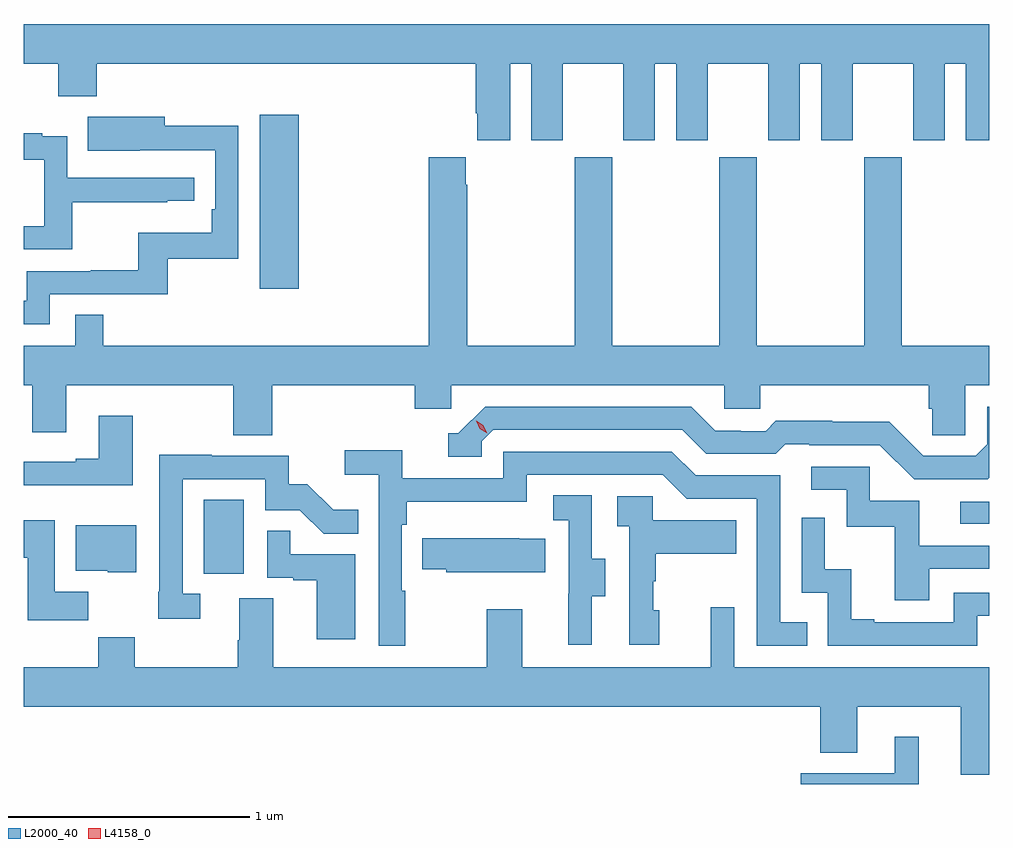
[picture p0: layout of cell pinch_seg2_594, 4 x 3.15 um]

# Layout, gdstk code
import gdstk
lib = gdstk.Library(unit=1e-6, precision=1e-09)
def R(c, l, rs):  # rectangles x0, y0, x1, y1
    for r in rs: c.add(gdstk.rectangle(r[:2], r[2:], *l))
def P(c, l, *ps):  # polygons
    for p in ps: c.add(gdstk.Polygon(p, *l))
L2000_40 = (2000, 40)
L4158_0 = (4158, 0)

pinch_seg2_594 = lib.new_cell('pinch_seg2_594')
R(pinch_seg2_594, L2000_40, [(1045.994,612.222,1046.158,612.529), (1049.127,612.429,1049.247,612.522), (1046.225,613.404,1046.386,614.125)])
P(pinch_seg2_594, L2000_40, [(1047.262,614.336),(1047.35,614.336),(1047.35,614.019),(1047.481,614.019),(1047.481,614.336),(1047.731,614.336),(1047.731,614.019),(1047.862,614.019),(1047.862,614.336),(1047.95,614.336),(1047.95,614.019),(1048.081,614.019),(1048.081,614.336),(1048.331,614.336),(1048.331,614.019),(1048.462,614.019),(1048.462,614.336),(1048.55,614.336),(1048.55,614.019),(1048.681,614.019),(1048.681,614.336),(1048.931,614.336),(1048.931,614.019),(1049.062,614.019),(1049.062,614.336),(1049.15,614.336),(1049.15,614.019),(1049.247,614.019),(1049.247,614.5),(1045.247,614.5),(1045.247,614.336),(1045.39,614.336),(1045.39,614.201),(1045.55,614.201),(1045.55,614.336),(1047.119,614.336),(1047.119,614.131),(1047.125,614.131),(1047.125,614.019),(1047.262,614.019)],
  [(1045.356,613.38),(1045.843,613.38),(1045.843,613.527),(1046.136,613.527),(1046.136,614.078),(1045.831,614.078),(1045.831,614.116),(1045.513,614.116),(1045.513,613.976),(1045.727,613.976),(1045.727,613.977),(1046.04,613.977),(1046.04,613.732),(1046.027,613.732),(1046.027,613.636),(1045.722,613.636),(1045.722,613.481),(1045.525,613.481),(1045.525,613.476),(1045.26,613.476),(1045.26,613.353),(1045.247,613.353),(1045.247,613.257),(1045.356,613.257)],
  [(1045.448,613.762),(1045.841,613.762),(1045.841,613.767),(1045.954,613.767),(1045.954,613.863),(1045.428,613.863),(1045.428,614.035),(1045.325,614.035),(1045.325,614.047),(1045.247,614.047),(1045.247,613.938),(1045.332,613.938),(1045.332,613.662),(1045.247,613.662),(1045.247,613.566),(1045.448,613.566)],
  [(1046.276,613.004),(1046.867,613.004),(1046.867,612.906),(1047.018,612.906),(1047.018,613.004),(1048.149,613.004),(1048.149,612.906),(1048.299,612.906),(1048.299,613.004),(1048.997,613.004),(1048.997,612.906),(1049.011,612.906),(1049.011,612.796),(1049.148,612.796),(1049.148,613.004),(1049.247,613.004),(1049.247,613.168),(1048.884,613.168),(1048.884,613.948),(1048.729,613.948),(1048.729,613.168),(1048.284,613.168),(1048.284,613.948),(1048.129,613.948),(1048.129,613.168),(1047.684,613.168),(1047.684,613.948),(1047.529,613.948),(1047.529,613.168),(1047.084,613.168),(1047.084,613.835),(1047.079,613.835),(1047.079,613.948),(1046.924,613.948),(1046.924,613.168),(1045.577,613.168),(1045.577,613.295),(1045.461,613.295),(1045.461,613.168),(1045.247,613.168),(1045.247,613.004),(1045.283,613.004),(1045.283,612.81),(1045.423,612.81),(1045.423,613.004),(1046.116,613.004),(1046.116,612.796),(1046.276,612.796)],
  [(1049.247,612.621),(1049.247,612.915),(1049.238,612.915),(1049.238,612.759),(1049.19,612.711),(1048.974,612.711),(1048.832,612.853),(1048.596,612.853),(1048.596,612.856),(1048.363,612.856),(1048.321,612.813),(1048.218,612.813),(1048.218,612.816),(1048.111,612.816),(1048.012,612.915),(1047.159,612.915),(1047.048,612.804),(1047.005,612.804),(1047.005,612.708),(1047.144,612.708),(1047.144,612.771),(1047.192,612.819),(1047.975,612.819),(1048.074,612.72),(1048.363,612.72),(1048.402,612.759),(1048.501,612.759),(1048.501,612.756),(1048.794,612.756),(1048.935,612.615),(1049.241,612.615)],
  [(1045.699,612.877),(1045.559,612.877),(1045.559,612.7),(1045.463,612.7),(1045.463,612.687),(1045.247,612.687),(1045.247,612.59),(1045.699,612.59)],
  [(1046.827,612.152),(1046.814,612.152),(1046.814,612.425),(1046.834,612.425),(1046.834,612.521),(1047.33,612.521),(1047.33,612.633),(1047.894,612.633),(1047.993,612.534),(1048.284,612.534),(1048.284,611.925),(1048.493,611.925),(1048.493,612.021),(1048.38,612.021),(1048.38,612.63),(1048.03,612.63),(1047.931,612.729),(1047.234,612.729),(1047.234,612.618),(1046.816,612.618),(1046.816,612.734),(1046.577,612.734),(1046.577,612.632),(1046.718,612.632),(1046.718,611.925),(1046.827,611.925)],
  [(1045.978,612.141),(1045.905,612.141),(1045.905,612.615),(1046.247,612.615),(1046.247,612.486),(1046.391,612.486),(1046.489,612.388),(1046.633,612.388),(1046.633,612.487),(1046.529,612.487),(1046.422,612.594),(1046.346,612.594),(1046.346,612.711),(1046.027,612.711),(1046.027,612.716),(1045.809,612.716),(1045.809,612.148),(1045.804,612.148),(1045.804,612.036),(1045.978,612.036)],
  [(1048.999,612.243),(1049.247,612.243),(1049.247,612.339),(1048.957,612.339),(1048.957,612.525),(1048.752,612.525),(1048.752,612.666),(1048.509,612.666),(1048.509,612.57),(1048.656,612.57),(1048.656,612.417),(1048.855,612.417),(1048.855,612.114),(1048.999,612.114)],
  [(1047.601,612.13),(1047.655,612.13),(1047.655,612.285),(1047.6,612.285),(1047.6,612.548),(1047.441,612.548),(1047.441,612.445),(1047.504,612.445),(1047.504,612.141),(1047.503,612.141),(1047.503,611.928),(1047.601,611.928)],
  [(1047.88,612.072),(1047.855,612.072),(1047.855,612.191),(1047.865,612.191),(1047.865,612.305),(1048.199,612.305),(1048.199,612.445),(1047.852,612.445),(1047.852,612.543),(1047.705,612.543),(1047.705,612.419),(1047.756,612.419),(1047.756,611.928),(1047.88,611.928)],
  [(1049.196,612.048),(1049.247,612.048),(1049.247,612.144),(1049.1,612.144),(1049.1,612.021),(1048.771,612.021),(1048.771,612.034),(1048.676,612.034),(1048.676,612.242),(1048.566,612.242),(1048.566,612.454),(1048.47,612.454),(1048.47,612.144),(1048.578,612.144),(1048.578,611.925),(1049.196,611.925)],
  [(1045.514,612.148),(1045.375,612.148),(1045.375,612.445),(1045.247,612.445),(1045.247,612.289),(1045.265,612.289),(1045.265,612.03),(1045.514,612.03)],
  [(1045.714,612.424),(1045.463,612.424),(1045.463,612.236),(1045.596,612.236),(1045.596,612.23),(1045.714,612.23)],
  [(1046.62,612.303),(1046.351,612.303),(1046.351,612.401),(1046.256,612.401),(1046.256,612.207),(1046.363,612.207),(1046.363,612.195),(1046.462,612.195),(1046.462,611.952),(1046.62,611.952)],
  [(1047.407,612.367),(1047.299,612.367),(1047.299,612.37),(1046.899,612.37),(1046.899,612.241),(1046.997,612.241),(1046.997,612.23),(1047.407,612.23)],
  [(1049.247,611.836),(1048.191,611.836),(1048.191,612.085),(1048.094,612.085),(1048.094,611.836),(1047.313,611.836),(1047.313,612.076),(1047.166,612.076),(1047.166,611.836),(1046.281,611.836),(1046.281,612.122),(1046.141,612.122),(1046.141,611.948),(1046.134,611.948),(1046.134,611.836),(1045.707,611.836),(1045.707,611.96),(1045.555,611.96),(1045.555,611.836),(1045.247,611.836),(1045.247,611.672),(1048.547,611.672),(1048.547,611.482),(1048.699,611.482),(1048.699,611.672),(1049.129,611.672),(1049.129,611.391),(1049.247,611.391)],
  [(1048.954,611.548),(1048.856,611.548),(1048.856,611.397),(1048.466,611.397),(1048.466,611.352),(1048.954,611.352)])
P(pinch_seg2_594, L4158_0, [(1047.167,612.804),(1047.136,612.824),(1047.121,612.857),(1047.121,612.857),(1047.121,612.857),(1047.151,612.837),(1047.167,612.805),(1047.167,612.804)])

lib.write_gds('pinch_seg2_594.gds')
